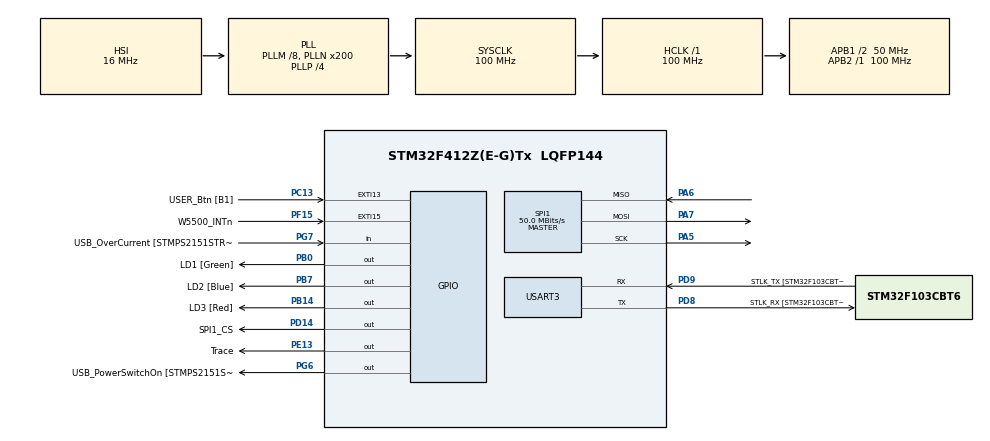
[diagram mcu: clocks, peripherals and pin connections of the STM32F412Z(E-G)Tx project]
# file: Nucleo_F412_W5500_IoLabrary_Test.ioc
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Dma.Request0=SPI1_RX
Dma.Request1=SPI1_TX
Dma.SPI1_RX.0.Direction=DMA_PERIPH_TO_MEMORY
Dma.SPI1_RX.0.FIFOMode=DMA_FIFOMODE_DISABLE
Dma.SPI1_RX.0.Instance=DMA2_Stream0
Dma.SPI1_RX.0.MemDataAlignment=DMA_MDATAALIGN_BYTE
Dma.SPI1_RX.0.MemInc=DMA_MINC_ENABLE
Dma.SPI1_RX.0.Mode=DMA_NORMAL
Dma.SPI1_RX.0.PeriphDataAlignment=DMA_PDATAALIGN_BYTE
Dma.SPI1_RX.0.PeriphInc=DMA_PINC_DISABLE
Dma.SPI1_RX.0.Priority=DMA_PRIORITY_VERY_HIGH
Dma.SPI1_TX.1.Direction=DMA_MEMORY_TO_PERIPH
Dma.SPI1_TX.1.FIFOMode=DMA_FIFOMODE_DISABLE
Dma.SPI1_TX.1.Instance=DMA2_Stream2
Dma.SPI1_TX.1.MemDataAlignment=DMA_MDATAALIGN_BYTE
Dma.SPI1_TX.1.MemInc=DMA_MINC_ENABLE
Dma.SPI1_TX.1.Mode=DMA_NORMAL
Dma.SPI1_TX.1.PeriphDataAlignment=DMA_PDATAALIGN_BYTE
Dma.SPI1_TX.1.PeriphInc=DMA_PINC_DISABLE
Dma.SPI1_TX.1.Priority=DMA_PRIORITY_VERY_HIGH
Mcu.Family=STM32F4
Mcu.Name=STM32F412Z(E-G)Tx
Mcu.Package=LQFP144
NVIC.DMA2_Stream0_IRQn=true\:0\:0\:false\:false\:true\:false\:true\:true
NVIC.DMA2_Stream2_IRQn=true\:0\:0\:false\:false\:true\:false\:true\:true
NVIC.EXTI15_10_IRQn=true\:0\:0\:false\:false\:true\:true\:true\:true
NVIC.PriorityGroup=NVIC_PRIORITYGROUP_4
NVIC.SPI1_IRQn=true\:0\:0\:false\:false\:true\:true\:true\:true
NVIC.USART3_IRQn=true\:0\:0\:false\:false\:true\:true\:true\:true
PA10.GPIO_Label=USB_ID
PA10.Signal=USB_OTG_FS_ID
PA11.GPIO_Label=USB_DM
PA11.Signal=USB_OTG_FS_DM
PA12.GPIO_Label=USB_DP
PA12.Signal=USB_OTG_FS_DP
PA13.GPIO_Label=TMS
PA13.Mode=Serial_Wire
PA13.Signal=SYS_JTMS-SWDIO
PA14.GPIO_Label=TCK
PA14.Mode=Serial_Wire
PA14.Signal=SYS_JTCK-SWCLK
PA5.Mode=Full_Duplex_Master
PA5.Signal=SPI1_SCK
PA6.Mode=Full_Duplex_Master
PA6.Signal=SPI1_MISO
PA7.Mode=Full_Duplex_Master
PA7.Signal=SPI1_MOSI
PA8.GPIO_Label=USB_SOF [TP1]
PA8.Signal=USB_OTG_FS_SOF
PA9.GPIO_Label=USB_VBUS
PA9.Signal=USB_OTG_FS_VBUS
PB0.GPIO_Label=LD1 [Green]
PB0.Signal=GPIO_Output
PB14.GPIO_Label=LD3 [Red]
PB14.Signal=GPIO_Output
PB3.GPIO_Label=SWO
PB3.Signal=SYS_JTDO-SWO
PB7.GPIO_Label=LD2 [Blue]
PB7.Signal=GPIO_Output
PC13.GPIO_Label=USER_Btn [B1]
PC13.Signal=GPXTI13
PC14-OSC32_IN.Mode=LSE-External-Oscillator
PC14-OSC32_IN.Signal=RCC_OSC32_IN
PC15-OSC32_OUT.Mode=LSE-External-Oscillator
PC15-OSC32_OUT.Signal=RCC_OSC32_OUT
PD14.GPIO_Label=SPI1_CS
PD14.GPIO_Speed=GPIO_SPEED_FREQ_VERY_HIGH
PD14.Signal=GPIO_Output
PD8.GPIO_Label=STLK_RX [STM32F103CBT6_PA3]
PD8.Mode=Asynchronous
PD8.Signal=USART3_TX
PD9.GPIO_Label=STLK_TX [STM32F103CBT6_PA2]
PD9.Mode=Asynchronous
PD9.Signal=USART3_RX
PE13.GPIO_Label=Trace
PE13.GPIO_Speed=GPIO_SPEED_FREQ_VERY_HIGH
PE13.Signal=GPIO_Output
PF15.GPIO_Label=W5500_INTn
PF15.GPIO_ModeDefaultEXTI=GPIO_MODE_IT_FALLING
PF15.GPIO_PuPd=GPIO_PULLUP
PF15.Signal=GPXTI15
PG6.GPIO_Label=USB_PowerSwitchOn [STMPS2151STR_EN]
PG6.Signal=GPIO_Output
PG7.GPIO_Label=USB_OverCurrent [STMPS2151STR_FAULT]
PG7.Signal=GPIO_Input
PH0\ -\ OSC_IN.GPIO_Label=MCO
PH0\ -\ OSC_IN.Mode=HSE-External-Clock-Source
PH0\ -\ OSC_IN.Signal=RCC_OSC_IN
PH1\ -\ OSC_OUT.Mode=HSE-External-Clock-Source
PH1\ -\ OSC_OUT.Signal=RCC_OSC_OUT
ProjectManager.HeapSize=0x200
ProjectManager.StackSize=0x400
ProjectManager.TargetToolchain=STM32CubeIDE
RCC.48MHZClocksFreq_Value=24000000
RCC.AHBFreq_Value=100000000
RCC.APB1CLKDivider=RCC_HCLK_DIV2
RCC.APB1Freq_Value=50000000
RCC.APB1TimFreq_Value=100000000
RCC.APB2Freq_Value=100000000
RCC.APB2TimFreq_Value=100000000
RCC.CortexFreq_Value=100000000
RCC.HCLKFreq_Value=100000000
RCC.HSE_VALUE=8000000
RCC.HSI_VALUE=16000000
RCC.PLLM=8
RCC.PLLMUL=RCC_PLL_MUL9
RCC.PLLN=200
RCC.PLLP=RCC_PLLP_DIV4
RCC.PLLQ=8
RCC.PRESCALERUSB=RCC_USBCLKSOURCE_PLL_DIV1_5
RCC.SYSCLKFreq_VALUE=100000000
RCC.SYSCLKSource=RCC_SYSCLKSOURCE_PLLCLK
RCC.SYSCLKSourceVirtual=RCC_SYSCLKSOURCE_PLLCLK
RCC.USBFreq_Value=50000000
RCC.VCOOutputFreq_Value=400000000
SPI1.BaudRatePrescaler=SPI_BAUDRATEPRESCALER_2
SPI1.CalculateBaudRate=50.0 MBits/s
SPI1.Direction=SPI_DIRECTION_2LINES
SPI1.Mode=SPI_MODE_MASTER
SPI1.VirtualType=VM_MASTER
USART3.VirtualMode=VM_ASYNC
board=NUCLEO-F412ZG

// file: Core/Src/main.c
/* USER CODE BEGIN Header */
/**
  ******************************************************************************
  * @file           : main.c
  * @brief          : Main program body
  ******************************************************************************
  * @attention
  *
  * Copyright (c) 2023 STMicroelectronics.
  * All rights reserved.
  *
  * This software is licensed under terms that can be found in the LICENSE file
  * in the root directory of this software component.
  * If no LICENSE file comes with this software, it is provided AS-IS.
  *
  ******************************************************************************
  */
/* USER CODE END Header */
#include "main.h"

/* USER CODE BEGIN Includes */
#include "loopback.h"
#include "wizchip_conf.h"
#include "socket.h"

/* USER CODE END Includes */

/* USER CODE BEGIN PTD */
#define ETH_MAX_BUF_SIZE 2048
#define True_STD
#define SEND_SIZE 41820
#define UDP_INT_TEST 0
#define SOCKET_TOE_IPERF 0
#define W5500_INTn_En 0
#define W5500_NO_DELAY 0
/* USER CODE END PTD */

SPI_HandleTypeDef hspi1;
DMA_HandleTypeDef hdma_spi1_rx;
DMA_HandleTypeDef hdma_spi1_tx;

UART_HandleTypeDef huart3;

/* USER CODE BEGIN PV */
wiz_NetInfo defaultNetInfo = { .mac = {0x00,0x08,0xdc,0xff,0xee,0xdd},
							.ip = {192,168,10,111},
							.sn = {255,255,255,0},
							.gw = {192,168,10,1},
							.dns = {168, 126, 63, 1},
							.dhcp = NETINFO_STATIC};

unsigned char gServer_IP[4] = {192,168,15,7};
unsigned char ethBuf0[ETH_MAX_BUF_SIZE];
/* USER CODE END PV */

void SystemClock_Config(void);
static void MX_GPIO_Init(void);
static void MX_DMA_Init(void);
static void MX_USART3_UART_Init(void);
static void MX_SPI1_Init(void);
/* USER CODE BEGIN PFP */
uint8_t rxData;
uint8_t send_flag = 0;
uint8_t ETH_INT_Flag = 0;

uint8_t rx_buffer[2048]= {0,};
int rx_index = 0;
uint8_t rx_flag =0;
#ifdef KEIL
     #ifdef __GNUC__
     //With GCC, small printf (option LD Linker->Libraries->Small printf
     //set to 'Yes') calls __io_putchar()
         #define PUTCHAR_PROTOTYPE int __io_putchar(int ch)
		#else
				 #define PUTCHAR_PROTOTYPE int fputc(int ch, FILE *f)
		#endif /* __GNUC__*/
#endif

#ifdef True_STD
	int _write(int fd, char *str, int len)
	{
		for(int i=0; i<len; i++)
		{
			HAL_UART_Transmit(&huart3, (uint8_t *)&str[i], 1, 0xFFFF);
		}
		return len;
	}
#endif

void HAL_UART_RxCpltCallback(UART_HandleTypeDef *huart) {

    /*
        This will be called once data is received successfully,
        via interrupts.
    */

     /*
       loop back received data
     */
     HAL_UART_Receive_IT(&huart3, &rxData, 1);
     if (rxData == '\n')
	 {
	   if (rx_buffer[rx_index - 1] == '\r')
	   {
		 rx_index--;
		 rx_flag = 1;
		 rx_buffer[rx_index] = 0;
	   }
	   else
	   {
		 rx_index = 0;
		 HAL_UART_Transmit(&huart3, "not support format\r\n", 20, 1000);
	   }
	 }
	 else if (rxData == 0x08) // back space
	 {
	   rx_index--;
	 }
	 else
	 {
	   rx_buffer[rx_index++] = rxData;
	 }
     HAL_UART_Transmit(&huart3, &rxData, 1, 1000);
}

void HAL_GPIO_EXTI_Callback(uint16_t GPIO_Pin)
{
	if(GPIO_Pin == W5500_INTn_Pin)
	{
		ETH_INT_Flag = 1;
	}
}
void csEnable(void)
{
	HAL_GPIO_WritePin(SPI1_CS_GPIO_Port, SPI1_CS_Pin, GPIO_PIN_RESET);
}

void csDisable(void)
{
	HAL_GPIO_WritePin(SPI1_CS_GPIO_Port, SPI1_CS_Pin, GPIO_PIN_SET);
}

void spiWriteByte(uint8_t tx)
{
	uint8_t rx;
  while (HAL_SPI_GetState(&hspi1) != HAL_SPI_STATE_READY);
	HAL_SPI_TransmitReceive(&hspi1, &tx, &rx, 1, 10);
  while (HAL_SPI_GetState(&hspi1) == HAL_SPI_STATE_BUSY_TX);

}

uint8_t spiReadByte(void)
{
	uint8_t rx = 0, tx = 0xFF;
  while (HAL_SPI_GetState(&hspi1) != HAL_SPI_STATE_READY);
	HAL_SPI_TransmitReceive(&hspi1, &tx, &rx, 1, 10);
  while (HAL_SPI_GetState(&hspi1) == HAL_SPI_STATE_BUSY_RX);
	return rx;
}
static void wizchip_read_burst(uint8_t *pBuf, uint16_t len)
{
#if 1
	HAL_SPI_Receive_DMA(&hspi1, pBuf, len);
  while (HAL_DMA_GetState(hspi1.hdmarx) == HAL_DMA_STATE_BUSY);
  while (HAL_SPI_GetState(&hspi1) == HAL_SPI_STATE_BUSY_RX);
#else
  uint8_t tx[SEND_SIZE] = {0,};
    while (HAL_SPI_GetState(&hspi1) != HAL_SPI_STATE_READY);
  	HAL_SPI_TransmitReceive(&hspi1, &tx, pBuf, len, 2);
    while (HAL_SPI_GetState(&hspi1) == HAL_SPI_STATE_BUSY_RX);
#endif

	//return;
}

static void wizchip_write_burst(uint8_t *pBuf, uint16_t len)
{
#if 1
  HAL_SPI_Transmit_DMA(&hspi1, pBuf, len);
  while (HAL_DMA_GetState(hspi1.hdmatx) == HAL_DMA_STATE_BUSY);
  while (HAL_SPI_GetState(&hspi1) == HAL_SPI_STATE_BUSY_TX);
#else
  uint8_t rx[SEND_SIZE] = {0,};
    while (HAL_SPI_GetState(&hspi1) != HAL_SPI_STATE_READY);
  	HAL_SPI_TransmitReceive(&hspi1, pBuf, &rx, len, 2);
    while (HAL_SPI_GetState(&hspi1) == HAL_SPI_STATE_BUSY_RX);
#endif

	//return;
}
void print_network_information()
{
	wiz_NetInfo gWIZNETINFO;
	wizchip_getnetinfo(&gWIZNETINFO);

	printf("Mac address: %02x:%02x:%02x:%02x:%02x:%02x\r\n",gWIZNETINFO.mac[0],gWIZNETINFO.mac[1],gWIZNETINFO.mac[2],gWIZNETINFO.mac[3],gWIZNETINFO.mac[4],gWIZNETINFO.mac[5]);
	printf("IP address : %d.%d.%d.%d\r\n",gWIZNETINFO.ip[0],gWIZNETINFO.ip[1],gWIZNETINFO.ip[2],gWIZNETINFO.ip[3]);
	printf("SM Mask	   : %d.%d.%d.%d\r\n",gWIZNETINFO.sn[0],gWIZNETINFO.sn[1],gWIZNETINFO.sn[2],gWIZNETINFO.sn[3]);
	printf("Gate way   : %d.%d.%d.%d\r\n",gWIZNETINFO.gw[0],gWIZNETINFO.gw[1],gWIZNETINFO.gw[2],gWIZNETINFO.gw[3]);
	printf("DNS Server : %d.%d.%d.%d\r\n",gWIZNETINFO.dns[0],gWIZNETINFO.dns[1],gWIZNETINFO.dns[2],gWIZNETINFO.dns[3]);
}

void Display_Net_Conf()
{
	uint8_t tmpstr[6] = {0,};
	wiz_NetInfo gWIZNETINFO;

	ctlnetwork(CN_GET_NETINFO, (void*) &gWIZNETINFO);
	ctlwizchip(CW_GET_ID,(void*)tmpstr);

	// Display Network Information
	if(gWIZNETINFO.dhcp == NETINFO_DHCP) printf("\r\n===== %s NET CONF : DHCP =====\r\n",(char*)tmpstr);
		else printf("\r\n===== %s NET CONF : Static =====\r\n",(char*)tmpstr);

	printf("\r\nMAC: %02X:%02X:%02X:%02X:%02X:%02X\r\n", gWIZNETINFO.mac[0], gWIZNETINFO.mac[1], gWIZNETINFO.mac[2], gWIZNETINFO.mac[3], gWIZNETINFO.mac[4], gWIZNETINFO.mac[5]);
	printf("IP: %d.%d.%d.%d\r\n", gWIZNETINFO.ip[0], gWIZNETINFO.ip[1], gWIZNETINFO.ip[2], gWIZNETINFO.ip[3]);
	printf("GW: %d.%d.%d.%d\r\n", gWIZNETINFO.gw[0], gWIZNETINFO.gw[1], gWIZNETINFO.gw[2], gWIZNETINFO.gw[3]);
	printf("SN: %d.%d.%d.%d\r\n", gWIZNETINFO.sn[0], gWIZNETINFO.sn[1], gWIZNETINFO.sn[2], gWIZNETINFO.sn[3]);
	printf("DNS: %d.%d.%d.%d\r\n", gWIZNETINFO.dns[0], gWIZNETINFO.dns[1], gWIZNETINFO.dns[2], gWIZNETINFO.dns[3]);
}
void W5500_Initialze(void)
{
	intr_kind temp;
	//unsigned char W5100S_AdrSet[2][4] = {{2,2,2,2},{2,2,2,2}};
  //unsigned char W5100S_AdrSet[2][4] = {{8,0,0,0},{8,0,0,0}};
	unsigned char _AdrSet[2][8] = {{16,0,0,0,0,0,0,0},{16,0,0,0,0,0,0,0}};
  uint8_t ver= 0;
	csDisable();
	/*
	 */
	reg_wizchip_cs_cbfunc(csEnable, csDisable);
	reg_wizchip_spi_cbfunc(spiReadByte,spiWriteByte);
  reg_wizchip_spiburst_cbfunc(wizchip_read_burst, wizchip_write_burst);
  //reg_wizchip_spi_cbfunc(spiReadByte, spiWriteByte, wizchip_read_burst, wizchip_write_burst);
	temp = IK_DEST_UNREACH;

	if(ctlwizchip(CW_INIT_WIZCHIP,(void*)_AdrSet) == -1)
	{
		printf("W5500 initialized fail.\r\n");
	}

  ver = getVERSIONR();
  printf("ver = 0x%02x\r\n", ver);

	if(ctlwizchip(CW_SET_INTRMASK,&temp) == -1)
	{
		printf("W5500 interrupt\r\n");
	}

	do{//check phy status.
		if(ctlwizchip(CW_GET_PHYLINK,(void*)&temp) == -1){
			printf("Unknown PHY link status.\r\n");
		}
	}while(temp == PHY_LINK_OFF);

}
uint32_t get_time(void)
{
    return HAL_GetTick();
}
uint16_t CLI_Process(void);
TRACE_ON()
{
	HAL_GPIO_WritePin(Trace_GPIO_Port, Trace_Pin, GPIO_PIN_SET);
}
TRACE_OFF()
{
	HAL_GPIO_WritePin(Trace_GPIO_Port, Trace_Pin, GPIO_PIN_RESET);
}
/* USER CODE END PFP */

int main(void)
{
  /* USER CODE BEGIN 1 */
  uint8_t u_sn = 0, t_sn = 1;
  int32_t ret = 0;
  uint8_t temp_ret1 = 0, temp_ret2 = 0;
  uint16_t port = 5001;
  uint8_t send_data[SEND_SIZE]={0,};
  uint8_t recv_data[SEND_SIZE] = {0,};
  uint16_t cnt = 0;
  unsigned char destip[4] = {192,168,15,7};
  uint16_t destport = 6000, t_d_port = 6001;
  uint8_t repeat_cnt = 3;
  uint32_t time1 = 0, time2 = 0;
  uint16_t send_size_1 = 0, recv_size = 0;
  uint16_t max_buf_size = 0, sentsize = 0, temp_send_size = 0;
  uint8_t d_MAC[6];
  uint32_t pack_len = 0;
  uint8_t IR_Status = 0;
  uint32_t est_count = 0;
  uint8_t dis_en_dis[2][8]={"Disable", "Enable"};
  /* USER CODE END 1 */

  /* MCU Configuration--------------------------------------------------------*/

  /* Reset of all peripherals, Initializes the Flash interface and the Systick. */
  HAL_Init();

  /* Configure the system clock */
  SystemClock_Config();

  /* Initialize all configured peripherals */
  MX_GPIO_Init();
  MX_DMA_Init();
  MX_USART3_UART_Init();
  MX_SPI1_Init();
  /* USER CODE BEGIN 2 */
  printf("\r\nW5500 test \r\n");
  printf("IoLibrary Reg 16Bit Function %s \r\n ", dis_en_dis[FUNC_16BIT_EN]);
  printf("Interrupt %s, Nodelay %s\r\n",dis_en_dis[W5500_INTn_En], dis_en_dis[W5500_NO_DELAY]);
  HAL_UART_Receive_IT(&huart3, &rxData, 1);

  W5500_Initialze();
  wizchip_setnetinfo(&defaultNetInfo);
  //Display_Net_Conf();
  print_network_information();

  temp_ret1 = getSIR();
  temp_ret2 = getSIMR();
  printf("1. IR Reg %02x IMR Reg %02x\r\n", temp_ret1, temp_ret2);
  //setIMR(0x01); //socket 0 enable
  setSIMR(0x01); //socket 0 enable
  temp_ret1 = getSIR();
  temp_ret2 = getSIMR();
  printf("2. IR Reg %02x IMR Reg %02x\r\n", temp_ret1, temp_ret2);
  temp_ret1 = getSn_IR(u_sn);
  temp_ret2 = getSn_IMR(u_sn);
  printf("1. sn : %d IR Reg %02x IMR Reg %02x\r\n",u_sn, temp_ret1, temp_ret2);

  setSn_IMR(u_sn, 0x04); //->RECV INT,  SENDOK|TIMEOUT|RECV|DISCON|CON|
  setSn_IR(u_sn, 0x04);
  temp_ret1 = getSn_IR(u_sn);
  temp_ret2 = getSn_IMR(u_sn);
  printf("2. sn : %d IR Reg %02x IMR Reg %02x\r\n",u_sn, temp_ret1, temp_ret2);

  cnt = getRTR();
  printf("1 Get RTR : %d[%04x]\r\n", cnt, cnt);
  cnt = 1;
  setRTR(cnt);
  printf("Set RTR : %d[%04x]\r\n", cnt, cnt);
  cnt = getRTR();
  printf("2 Get RTR : %d[%04x]\r\n", cnt, cnt);

  TRACE_OFF();

  #if UDP_INT_TEST
  if((ret = socket(u_sn, Sn_MR_UDP, port, 0x00)) != u_sn)
    printf("socket open Error 0x%02x\r\n", ret);
  send_data[0] ='z';
  send_data[1] ='0';
  printf("socket open port : %d \r\n", port);
  printf("Dest IP : %d.%d.%d.%d Port : %d\r\n", destip[0], destip[1], destip[2], destip[3], destport);
  for(cnt = 2; cnt < SEND_SIZE; cnt ++)
  {
    send_data[cnt] = 0x41 + (cnt % 25);
  }
  printf("UDP Send Ready port %d \r\n", port);
  printf("plead input 1 send start\r\n");
  max_buf_size = getSn_TxMAX(u_sn);
  send_size_1 = max_buf_size - (max_buf_size % 1472);
  printf("1 send buf size = %d\r\n", send_size_1);
  #endif
  /* USER CODE END 2 */

  /* Infinite loop */
  /* USER CODE BEGIN WHILE */
  while (1)
  {
    if(rx_flag == 1)
    {
      CLI_Process();
      rx_flag = 0;
    }
    switch(getSn_SR(SOCKET_TOE_IPERF))
    {
      case SOCK_ESTABLISHED :
        while(1)
        {
          //getsockopt(SOCKET_TOE_IPERF, SO_RECVBUF, &pack_len);
          #if W5500_INTn_En
          if(ETH_INT_Flag == 1)
          {
          #endif
            ETH_INT_Flag = 0;
            pack_len = getSn_RX_RSR(SOCKET_TOE_IPERF);
            if (pack_len > 0)
            {
              est_count = 0;
              if((IR_Status = getSn_IR(SOCKET_TOE_IPERF))  != 0x00)
                setSn_IR(SOCKET_TOE_IPERF, IR_Status);
                  //setSn_IRCLR(SOCKET_TOE_IPERF, IR_Status);
              TRACE_ON();
              //recv_iperf(SOCKET_TOE_IPERF, (uint8_t *)data_buf, ETHERNET_BUF_MAX_SIZE / 8);
              recv_iperf(SOCKET_TOE_IPERF, (uint8_t *)recv_data, pack_len);

              TRACE_OFF();
            }
          #if W5500_INTn_En
          }
          #endif
          est_count++;
          if(est_count > 100000000)
          {
            est_count =0;
            break;
          }
        }
      case SOCK_CLOSE_WAIT :
        disconnect(SOCKET_TOE_IPERF);
        break;
      case SOCK_INIT :
        listen(SOCKET_TOE_IPERF);
        break;
      case SOCK_CLOSED:
        //socket(SOCKET_TOE_IPERF, Sn_MR_TCP, port, SOCK_IO_NONBLOCK|SF_TCP_NODELAY);
        #if W5500_NO_DELAY
        socket(SOCKET_TOE_IPERF, Sn_MR_TCP, port, SOCK_IO_NONBLOCK|SF_TCP_NODELAY);
        #else
        socket(SOCKET_TOE_IPERF, Sn_MR_TCP, port, SOCK_IO_NONBLOCK);
        #endif
        printf("Iperf Server open port : %d\r\n", port);
        break;
      default:
        break;
    }
    #if UDP_INT_TEST
    if(ETH_INT_Flag == 1)
    {
    	ETH_INT_Flag = 0;
      temp_ret1 = getSn_IR(u_sn);
      printf("1 sn: %d snIR:%02x \r\n", u_sn, temp_ret1);

      setSn_IR(u_sn, temp_ret1);
      temp_ret1 = getSn_IR(u_sn);
      printf("2 sn: %d snIR:%02x \r\n", u_sn, temp_ret1);
      getSn_DHAR(u_sn, d_MAC);
      printf("Recv1 Dest MAC = %02x:%02x:%02x:%02x:%02x:%02x \r\n", d_MAC[0], d_MAC[1], d_MAC[2], d_MAC[3], d_MAC[4], d_MAC[5]);
      if((recv_size = getSn_RX_RSR(u_sn)) > 0)
      {
        if(recv_size > SEND_SIZE) recv_size = SEND_SIZE;
        ret = recvfrom(u_sn, recv_data, recv_size, destip, (uint16_t*)&destport);
        if(ret <= 0)
        {
          printf("%d: recvfrom error. %ld\r\n",u_sn,ret);
          return ret;
        }
        recv_data[recv_size] = 0;
        printf("recv[%d]:%s\r\n",recv_size, recv_data);
        printf("recv size: %d , Dest IP : %d.%d.%d.%d Port : %d\r\n",recv_size , destip[0], destip[1], destip[2], destip[3], destport);
        getSn_DHAR(u_sn, d_MAC);
        printf("Recv2 Dest MAC = %02x:%02x:%02x:%02x:%02x:%02x \r\n", d_MAC[0], d_MAC[1], d_MAC[2], d_MAC[3], d_MAC[4], d_MAC[5]);

        recv_size = (uint16_t) ret;
        sentsize = 0;
        while(sentsize != recv_size)
        {
          ret = sendto(u_sn, recv_data+sentsize, recv_size-sentsize, destip, destport);
          if(ret < 0)
          {
            printf("%d: sendto error. %ld\r\n",u_sn,ret);
            return ret;
          }
          sentsize += ret; // Don't care SOCKERR_BUSY, because it is zero.
        }
        getSn_DHAR(u_sn, d_MAC);
        printf("send Dest MAC = %02x:%02x:%02x:%02x:%02x:%02x\r\n", d_MAC[0], d_MAC[1], d_MAC[2], d_MAC[3], d_MAC[4], d_MAC[5]);

      }
    }
    #endif
    if(send_flag == 1)
    {
      time1 = get_time();
      printf("UDP Send start \r\n");
      for(cnt = 0; cnt < repeat_cnt; cnt++)
      {
        send_data[1] ='0'+ cnt;
        #if 0
        ret = sendto(u_sn, send_data, SEND_SIZE, destip, destport);
        if(ret < 0)
        {
          printf("[%d] : sendto error. %ld\r\n",u_sn ,ret);
        }
        #endif
        sentsize = 0;
        while(sentsize != SEND_SIZE)
        {
            temp_send_size = (SEND_SIZE-sentsize) > send_size_1 ? send_size_1 : (SEND_SIZE-sentsize);
            ret = sendto(u_sn, send_data+sentsize, temp_send_size, destip, destport);
            if(ret < 0)
            {
              printf("%d: sendto error. %ld\r\n",u_sn,ret);
            }
            else
              sentsize += ret; // Don't care SOCKERR_BUSY, because it is zero.
        }
      }
      send_flag = 0;
      time2 = get_time();
      printf("sned finished count : %d time : %ld one cnt time : %ld\r\n", repeat_cnt, (uint16_t)(time2 - time1), (uint16_t)((time2-time1)/repeat_cnt));
    }
	  //loopback_tcps(0,ethBuf0,5000);
    /* USER CODE END WHILE */

  }
}

void SystemClock_Config(void)
{
  RCC_OscInitTypeDef RCC_OscInitStruct = {0};
  RCC_ClkInitTypeDef RCC_ClkInitStruct = {0};

  /** Configure the main internal regulator output voltage
  */
  __HAL_RCC_PWR_CLK_ENABLE();
  __HAL_PWR_VOLTAGESCALING_CONFIG(PWR_REGULATOR_VOLTAGE_SCALE1);

  /** Initializes the RCC Oscillators according to the specified parameters
  * in the RCC_OscInitTypeDef structure.
  */
  RCC_OscInitStruct.OscillatorType = RCC_OSCILLATORTYPE_HSI;
  RCC_OscInitStruct.HSIState = RCC_HSI_ON;
  RCC_OscInitStruct.HSICalibrationValue = RCC_HSICALIBRATION_DEFAULT;
  RCC_OscInitStruct.PLL.PLLState = RCC_PLL_ON;
  RCC_OscInitStruct.PLL.PLLSource = RCC_PLLSOURCE_HSI;
  RCC_OscInitStruct.PLL.PLLM = 8;
  RCC_OscInitStruct.PLL.PLLN = 200;
  RCC_OscInitStruct.PLL.PLLP = RCC_PLLP_DIV4;
  RCC_OscInitStruct.PLL.PLLQ = 8;
  RCC_OscInitStruct.PLL.PLLR = 2;
  if (HAL_RCC_OscConfig(&RCC_OscInitStruct) != HAL_OK)
  {
    Error_Handler();
  }

  /** Initializes the CPU, AHB and APB buses clocks
  */
  RCC_ClkInitStruct.ClockType = RCC_CLOCKTYPE_HCLK|RCC_CLOCKTYPE_SYSCLK
                              |RCC_CLOCKTYPE_PCLK1|RCC_CLOCKTYPE_PCLK2;
  RCC_ClkInitStruct.SYSCLKSource = RCC_SYSCLKSOURCE_PLLCLK;
  RCC_ClkInitStruct.AHBCLKDivider = RCC_SYSCLK_DIV1;
  RCC_ClkInitStruct.APB1CLKDivider = RCC_HCLK_DIV2;
  RCC_ClkInitStruct.APB2CLKDivider = RCC_HCLK_DIV1;

  if (HAL_RCC_ClockConfig(&RCC_ClkInitStruct, FLASH_LATENCY_3) != HAL_OK)
  {
    Error_Handler();
  }
}

static void MX_SPI1_Init(void)
{

  /* SPI1 parameter configuration*/
  hspi1.Instance = SPI1;
  hspi1.Init.Mode = SPI_MODE_MASTER;
  hspi1.Init.Direction = SPI_DIRECTION_2LINES;
  hspi1.Init.DataSize = SPI_DATASIZE_8BIT;
  hspi1.Init.CLKPolarity = SPI_POLARITY_LOW;
  hspi1.Init.CLKPhase = SPI_PHASE_1EDGE;
  hspi1.Init.NSS = SPI_NSS_SOFT;
  hspi1.Init.BaudRatePrescaler = SPI_BAUDRATEPRESCALER_2;
  hspi1.Init.FirstBit = SPI_FIRSTBIT_MSB;
  hspi1.Init.TIMode = SPI_TIMODE_DISABLE;
  hspi1.Init.CRCCalculation = SPI_CRCCALCULATION_DISABLE;
  hspi1.Init.CRCPolynomial = 10;
  if (HAL_SPI_Init(&hspi1) != HAL_OK)
  {
    Error_Handler();
  }

}

static void MX_USART3_UART_Init(void)
{

  huart3.Instance = USART3;
  huart3.Init.BaudRate = 115200;
  huart3.Init.WordLength = UART_WORDLENGTH_8B;
  huart3.Init.StopBits = UART_STOPBITS_1;
  huart3.Init.Parity = UART_PARITY_NONE;
  huart3.Init.Mode = UART_MODE_TX_RX;
  huart3.Init.HwFlowCtl = UART_HWCONTROL_NONE;
  huart3.Init.OverSampling = UART_OVERSAMPLING_16;
  if (HAL_UART_Init(&huart3) != HAL_OK)
  {
    Error_Handler();
  }

}

static void MX_DMA_Init(void)
{

  /* DMA controller clock enable */
  __HAL_RCC_DMA2_CLK_ENABLE();

  /* DMA interrupt init */
  /* DMA2_Stream0_IRQn interrupt configuration */
  HAL_NVIC_SetPriority(DMA2_Stream0_IRQn, 0, 0);
  HAL_NVIC_EnableIRQ(DMA2_Stream0_IRQn);
  /* DMA2_Stream2_IRQn interrupt configuration */
  HAL_NVIC_SetPriority(DMA2_Stream2_IRQn, 0, 0);
  HAL_NVIC_EnableIRQ(DMA2_Stream2_IRQn);

}

static void MX_GPIO_Init(void)
{
  GPIO_InitTypeDef GPIO_InitStruct = {0};

  /* GPIO Ports Clock Enable */
  __HAL_RCC_GPIOC_CLK_ENABLE();
  __HAL_RCC_GPIOH_CLK_ENABLE();
  __HAL_RCC_GPIOA_CLK_ENABLE();
  __HAL_RCC_GPIOB_CLK_ENABLE();
  __HAL_RCC_GPIOF_CLK_ENABLE();
  __HAL_RCC_GPIOE_CLK_ENABLE();
  __HAL_RCC_GPIOD_CLK_ENABLE();
  __HAL_RCC_GPIOG_CLK_ENABLE();

  /*Configure GPIO pin Output Level */
  HAL_GPIO_WritePin(GPIOB, LD1_Pin|LD3_Pin|LD2_Pin, GPIO_PIN_RESET);

  /*Configure GPIO pin Output Level */
  HAL_GPIO_WritePin(Trace_GPIO_Port, Trace_Pin, GPIO_PIN_RESET);

  /*Configure GPIO pin Output Level */
  HAL_GPIO_WritePin(SPI1_CS_GPIO_Port, SPI1_CS_Pin, GPIO_PIN_RESET);

  /*Configure GPIO pin Output Level */
  HAL_GPIO_WritePin(USB_PowerSwitchOn_GPIO_Port, USB_PowerSwitchOn_Pin, GPIO_PIN_RESET);

  /*Configure GPIO pin : USER_Btn_Pin */
  GPIO_InitStruct.Pin = USER_Btn_Pin;
  GPIO_InitStruct.Mode = GPIO_MODE_IT_RISING;
  GPIO_InitStruct.Pull = GPIO_NOPULL;
  HAL_GPIO_Init(USER_Btn_GPIO_Port, &GPIO_InitStruct);

  /*Configure GPIO pins : LD1_Pin LD3_Pin LD2_Pin */
  GPIO_InitStruct.Pin = LD1_Pin|LD3_Pin|LD2_Pin;
  GPIO_InitStruct.Mode = GPIO_MODE_OUTPUT_PP;
  GPIO_InitStruct.Pull = GPIO_NOPULL;
  GPIO_InitStruct.Speed = GPIO_SPEED_FREQ_LOW;
  HAL_GPIO_Init(GPIOB, &GPIO_InitStruct);

  /*Configure GPIO pin : W5500_INTn_Pin */
  GPIO_InitStruct.Pin = W5500_INTn_Pin;
  GPIO_InitStruct.Mode = GPIO_MODE_IT_FALLING;
  GPIO_InitStruct.Pull = GPIO_PULLUP;
  HAL_GPIO_Init(W5500_INTn_GPIO_Port, &GPIO_InitStruct);

  /*Configure GPIO pin : Trace_Pin */
  GPIO_InitStruct.Pin = Trace_Pin;
  GPIO_InitStruct.Mode = GPIO_MODE_OUTPUT_PP;
  GPIO_InitStruct.Pull = GPIO_NOPULL;
  GPIO_InitStruct.Speed = GPIO_SPEED_FREQ_VERY_HIGH;
  HAL_GPIO_Init(Trace_GPIO_Port, &GPIO_InitStruct);

  /*Configure GPIO pin : SPI1_CS_Pin */
  GPIO_InitStruct.Pin = SPI1_CS_Pin;
  GPIO_InitStruct.Mode = GPIO_MODE_OUTPUT_PP;
  GPIO_InitStruct.Pull = GPIO_NOPULL;
  GPIO_InitStruct.Speed = GPIO_SPEED_FREQ_VERY_HIGH;
  HAL_GPIO_Init(SPI1_CS_GPIO_Port, &GPIO_InitStruct);

  /*Configure GPIO pin : USB_PowerSwitchOn_Pin */
  GPIO_InitStruct.Pin = USB_PowerSwitchOn_Pin;
  GPIO_InitStruct.Mode = GPIO_MODE_OUTPUT_PP;
  GPIO_InitStruct.Pull = GPIO_NOPULL;
  GPIO_InitStruct.Speed = GPIO_SPEED_FREQ_LOW;
  HAL_GPIO_Init(USB_PowerSwitchOn_GPIO_Port, &GPIO_InitStruct);

  /*Configure GPIO pin : USB_OverCurrent_Pin */
  GPIO_InitStruct.Pin = USB_OverCurrent_Pin;
  GPIO_InitStruct.Mode = GPIO_MODE_INPUT;
  GPIO_InitStruct.Pull = GPIO_NOPULL;
  HAL_GPIO_Init(USB_OverCurrent_GPIO_Port, &GPIO_InitStruct);

  /*Configure GPIO pins : USB_SOF_Pin USB_ID_Pin USB_DM_Pin USB_DP_Pin */
  GPIO_InitStruct.Pin = USB_SOF_Pin|USB_ID_Pin|USB_DM_Pin|USB_DP_Pin;
  GPIO_InitStruct.Mode = GPIO_MODE_AF_PP;
  GPIO_InitStruct.Pull = GPIO_NOPULL;
  GPIO_InitStruct.Speed = GPIO_SPEED_FREQ_VERY_HIGH;
  GPIO_InitStruct.Alternate = GPIO_AF10_OTG_FS;
  HAL_GPIO_Init(GPIOA, &GPIO_InitStruct);

  /* EXTI interrupt init*/
  HAL_NVIC_SetPriority(EXTI15_10_IRQn, 0, 0);
  HAL_NVIC_EnableIRQ(EXTI15_10_IRQn);

}

/* USER CODE BEGIN 4 */
uint16_t CLI_Process(void)
{
  uint16_t mode = 0;
  printf("serial recv : [%d] %s\r\n", rx_index, rx_buffer);
  if (strncmp((const char *)rx_buffer, (const char *)"help", 4) == 0) // spi setting
  {
	  printf("help\r\n");
  }
  else if (strncmp((const char *)rx_buffer, (const char *)"stop", 4) == 0) // spi setting
  {
	  printf("stop\r\n");
	  close(0);
    mode = 4;
  }
  else if (strncmp((const char *)rx_buffer, (const char *)"1", 1) == 0) // spi setting
  {
	  printf("send udp flag\r\n");
    mode = 1;
    send_flag = 1;
  }
  rx_index = 0;
  HAL_UART_Transmit(&huart3, (uint8_t *)">", 1, 0xFFFF);
  return mode;
}
/* USER CODE END 4 */

void Error_Handler(void)
{
  __disable_irq();
  while (1)
  {
  }
}
